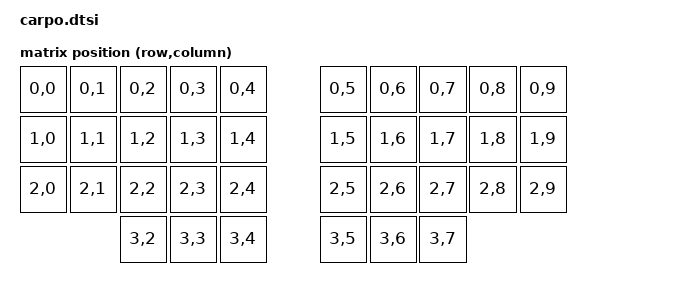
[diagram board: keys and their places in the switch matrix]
/*
*
* Copyright (c) 2024 The ZMK Contributors
* SPDX-License-Identifier: MIT
*
*/

/dts-v1/;
#include <nordic/nrf52840_qiaa.dtsi>

#include <dt-bindings/zmk/matrix_transform.h>
#include <dt-bindings/led/led.h>
#include "carpo-layouts.dtsi"
#include "carpo-pinctrl.dtsi"

&physical_layout0 {
    transform = <&matrix_transform0>;
};

/ {
    chosen {
        zmk,kscan = &kscan0;
        zmk,physical-layout = &physical_layout0;
        zephyr,code-partition = &code_partition;
        zephyr,sram = &sram0;
        zephyr,flash = &flash0;
        zmk,battery = &vbatt;
    };

    matrix_transform0: keymap_transform_0 {
        compatible = "zmk,matrix-transform";
        columns = <10>;
        rows = <4>;

            // | SW1  | SW2  | SW3  | SW4  | SW5  |   | SW5  | SW4  | SW3  | SW2  | SW1  |
            // | SW6  | SW7  | SW8  | SW9  | SW10 |   | SW10 | SW9  | SW8  | SW7  | SW6  |
            // | SW11 | SW12 | SW13 | SW14 | SW15 |   | SW15 | SW14 | SW13 | SW13 | SW11 |
            //               | SW16 | SW17 | SW18 |   | SW18 | SW17 | SW16 |
        map = <
            RC(0,0) RC(0,1) RC(0,2) RC(0,3) RC(0,4)  RC(0,5) RC(0,6) RC(0,7) RC(0,8) RC(0,9)
            RC(1,0) RC(1,1) RC(1,2) RC(1,3) RC(1,4)  RC(1,5) RC(1,6) RC(1,7) RC(1,8) RC(1,9)
            RC(2,0) RC(2,1) RC(2,2) RC(2,3) RC(2,4)  RC(2,5) RC(2,6) RC(2,7) RC(2,8) RC(2,9)
                            RC(3,2) RC(3,3) RC(3,4)  RC(3,5) RC(3,6) RC(3,7)
        >;
    };
    kscan0: kscan {
        compatible = "zmk,kscan-gpio-matrix";
        wakeup-source;

        diode-direction = "col2row";
    };

    vbatt: vbatt {
        compatible = "zmk,battery-voltage-divider";
        io-channels = <&adc 3>;
        output-ohms = <2000000>;
        full-ohms = <(2000000 + 806000)>;
    };
};

&adc {
    status = "okay";
};

&gpiote {
    status = "okay";
};

&gpio0 {
    status = "okay";
};

&gpio1 {
    status = "okay";
};

zephyr_udc0: &usbd {
    status = "okay";
};

&flash0 {
    /*
     * For more information, see:
     * http://docs.zephyrproject.org/latest/devices/dts/flash_partitions.html
     */
    partitions {
        compatible = "fixed-partitions";
        #address-cells = <1>;
        #size-cells = <1>;

        sd_partition: partition@0 {
            reg = <0x00000000 0x00026000>;
        };
        code_partition: partition@26000 {
            reg = <0x00026000 0x000c6000>;
        };

        /*
         * The flash starting at 0x000ec000 and ending at
         * 0x000f3fff is reserved for use by the application.
         */

        /*
         * Storage partition will be used by FCB/LittleFS/NVS
         * if enabled.
         */
        storage_partition: partition@ec000 {
            reg = <0x000ec000 0x00008000>;
        };

        boot_partition: partition@f4000 {
            reg = <0x000f4000 0x0000c000>;
        };
    };
};
